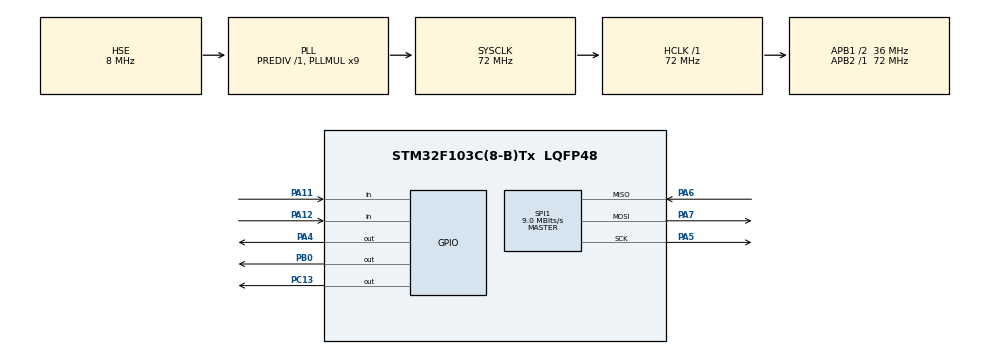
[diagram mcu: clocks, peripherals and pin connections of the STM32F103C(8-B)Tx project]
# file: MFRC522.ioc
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Mcu.Family=STM32F1
Mcu.Name=STM32F103C(8-B)Tx
Mcu.Package=LQFP48
NVIC.PriorityGroup=NVIC_PRIORITYGROUP_4
PA11.Signal=GPIO_Input
PA12.Signal=GPIO_Input
PA13.Mode=Serial_Wire
PA13.Signal=SYS_JTMS-SWDIO
PA14.Mode=Serial_Wire
PA14.Signal=SYS_JTCK-SWCLK
PA4.Signal=GPIO_Output
PA5.Mode=Full_Duplex_Master
PA5.Signal=SPI1_SCK
PA6.Mode=Full_Duplex_Master
PA6.Signal=SPI1_MISO
PA7.Mode=Full_Duplex_Master
PA7.Signal=SPI1_MOSI
PB0.Signal=GPIO_Output
PC13-TAMPER-RTC.PinState=GPIO_PIN_SET
PC13-TAMPER-RTC.Signal=GPIO_Output
PD0-OSC_IN.Mode=HSE-External-Oscillator
PD0-OSC_IN.Signal=RCC_OSC_IN
PD1-OSC_OUT.Mode=HSE-External-Oscillator
PD1-OSC_OUT.Signal=RCC_OSC_OUT
ProjectManager.HeapSize=0x200
ProjectManager.StackSize=0x400
ProjectManager.TargetToolchain=MDK-ARM V5.27
RCC.AHBFreq_Value=72000000
RCC.APB1CLKDivider=RCC_HCLK_DIV2
RCC.APB1Freq_Value=36000000
RCC.APB1TimFreq_Value=72000000
RCC.APB2Freq_Value=72000000
RCC.APB2TimFreq_Value=72000000
RCC.HCLKFreq_Value=72000000
RCC.PLLMUL=RCC_PLL_MUL9
RCC.PLLSourceVirtual=RCC_PLLSOURCE_HSE
RCC.SYSCLKFreq_VALUE=72000000
RCC.SYSCLKSource=RCC_SYSCLKSOURCE_PLLCLK
RCC.USBFreq_Value=72000000
SPI1.BaudRatePrescaler=SPI_BAUDRATEPRESCALER_8
SPI1.CalculateBaudRate=9.0 MBits/s
SPI1.Direction=SPI_DIRECTION_2LINES
SPI1.Mode=SPI_MODE_MASTER
SPI1.VirtualType=VM_MASTER
board=custom

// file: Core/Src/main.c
/* USER CODE BEGIN Header */
/**
  ******************************************************************************
  * @file           : main.c
  * @brief          : Main program body
  ******************************************************************************
  * @attention
  *
  * <h2><center>&copy; Copyright (c) 2020 STMicroelectronics.
  * All rights reserved.</center></h2>
  *
  * This software component is licensed by ST under BSD 3-Clause license,
  * the "License"; You may not use this file except in compliance with the
  * License. You may obtain a copy of the License at:
  *                        opensource.org/licenses/BSD-3-Clause
  *
  ******************************************************************************
  */
/* USER CODE END Header */
#include "main.h"

/* USER CODE BEGIN Includes */
#include "stdio.h"
#include "stm32f1_rc522.h"
#include "stdio.h"
#include "string.h"
/* USER CODE END Includes */

SPI_HandleTypeDef hspi1;

/* USER CODE BEGIN PV */
//uint8_t i;
uint8_t status;
uint8_t str[MAX_LEN]; // Max_LEN = 16

uint8_t serNum[5];
//char password[16]="123456"; //Max lenght of password is 16 charaters
//char keypass[16];
//int cnt=0;
uint8_t key;
//uint8_t check,check2;

uint8_t Key_Card[4]  = {170, 49, 60, 41};
uint8_t Key_Card2[4] = {228, 85, 45, 40};

uint8_t  KEY[] = {0xFF,0xFF,0xFF,0xFF,0xFF,0xFF};
uint8_t  KEY2[]={1,2,3,4,5,6};       //{1,2,3,4,5,6};//"mohem";
//uint8_t  BLOCK_ADDRS[] =  {1}; //{1, 2, 3};

uint8_t test;
uint8_t W[]="zagros-elec";
uint8_t R[16];
/* USER CODE END PV */

void SystemClock_Config(void);
static void MX_GPIO_Init(void);
static void MX_SPI1_Init(void);

int main(void)
{

  /* MCU Configuration--------------------------------------------------------*/

  /* Reset of all peripherals, Initializes the Flash interface and the Systick. */
  HAL_Init();

  /* Configure the system clock */
  SystemClock_Config();

  /* Initialize all configured peripherals */
  MX_GPIO_Init();
  MX_SPI1_Init();
  /* USER CODE BEGIN 2 */
  MFRC522_Init();
  /* USER CODE END 2 */

  /* Infinite loop */
  /* USER CODE BEGIN WHILE */
  while (1)
  {

		status = MFRC522_Request(PICC_REQIDL, str);	//MFRC522_Request(0x26, str)
		status = MFRC522_Anticoll(str);//Take a collision, look up 5 bytes
		memcpy(serNum, str, 5);//function for c language:(para1:that place save data,para2:the the source of data,para3:size)

		if (status == MI_OK)
		{

		//*******************************Read and write on block tag*************************//

    MFRC522_SelectTag(str);
		test =	MFRC522_Auth(PICC_AUTHENT1A,24,KEY,serNum);

			if(HAL_GPIO_ReadPin(GPIOA,GPIO_PIN_11)==0)
				{

      status = MFRC522_Write((uint8_t)24 , W);

			}

			if(HAL_GPIO_ReadPin(GPIOA,GPIO_PIN_12)==0)
				{
		//HAL_Delay(2000);
		 status = MFRC522_Read( 24, R);
			}

//HAL_Delay(1);

			//*******************************Read and write on block tag*************************//

			//*************tag key card when infront of rc522 led is on when is nothig led is off**************//
			/*
				if((str[0]==170) || (str[1]==49) || (str[2]==60) || (str[3]==41) || (str[3]==142) )
			{
			HAL_GPIO_WritePin(GPIOC,GPIO_PIN_13,0);
			HAL_Delay(300);
			}

			if((str[0]==147) || (str[1]==32) || (str[2]==60) || (str[3]==41) || (str[3]==142)){
			HAL_GPIO_WritePin(GPIOC,GPIO_PIN_13,1);

			}
			*/
			//*************tag key card when infront of rc522 led is on when is nothig led is off**************//

			//***************************with two tag:key tag is on led and mifer is off led******************//
			/*
			if((str[0]==170) || (str[1]==49) || (str[2]==60) || (str[3]==41) || (str[3]==142) )
			{
			HAL_GPIO_WritePin(GPIOC,GPIO_PIN_13,0);

			}

			if((str[0]==228) || (str[1]==85) || (str[2]==45) || (str[3]==40) || (str[3]==180))
			{

			HAL_GPIO_WritePin(GPIOC,GPIO_PIN_13,1);

			}
			*/
		 //***************************with two tag:key tag is on led and mifer is off led******************//

			//***************************with two tag:key tag is on led and mifer is off led******************//
			/*
				for(i=0;i<5;i++)
			{
				if(Key_Card[i]!=serNum[i]){
					check = 0;
				}
				else check = 1;

				if(Key_Card2[i]!=serNum[i]){
					check2 = 0;
				}
				else check2 = 1;
			}

			if(check==1){
			HAL_GPIO_WritePin(GPIOC,GPIO_PIN_13,0);

		             	}

			if(check2==1){

				HAL_GPIO_WritePin(GPIOC,GPIO_PIN_13,1);

		             	}
	     */
			//***************************with two tag:key tag is on led and mifer is off led******************//

		}

    /* USER CODE END WHILE */

  }
}

void SystemClock_Config(void)
{
  RCC_OscInitTypeDef RCC_OscInitStruct = {0};
  RCC_ClkInitTypeDef RCC_ClkInitStruct = {0};

  /** Initializes the RCC Oscillators according to the specified parameters
  * in the RCC_OscInitTypeDef structure.
  */
  RCC_OscInitStruct.OscillatorType = RCC_OSCILLATORTYPE_HSE;
  RCC_OscInitStruct.HSEState = RCC_HSE_ON;
  RCC_OscInitStruct.HSEPredivValue = RCC_HSE_PREDIV_DIV1;
  RCC_OscInitStruct.HSIState = RCC_HSI_ON;
  RCC_OscInitStruct.PLL.PLLState = RCC_PLL_ON;
  RCC_OscInitStruct.PLL.PLLSource = RCC_PLLSOURCE_HSE;
  RCC_OscInitStruct.PLL.PLLMUL = RCC_PLL_MUL9;
  if (HAL_RCC_OscConfig(&RCC_OscInitStruct) != HAL_OK)
  {
    Error_Handler();
  }
  /** Initializes the CPU, AHB and APB buses clocks
  */
  RCC_ClkInitStruct.ClockType = RCC_CLOCKTYPE_HCLK|RCC_CLOCKTYPE_SYSCLK
                              |RCC_CLOCKTYPE_PCLK1|RCC_CLOCKTYPE_PCLK2;
  RCC_ClkInitStruct.SYSCLKSource = RCC_SYSCLKSOURCE_PLLCLK;
  RCC_ClkInitStruct.AHBCLKDivider = RCC_SYSCLK_DIV1;
  RCC_ClkInitStruct.APB1CLKDivider = RCC_HCLK_DIV2;
  RCC_ClkInitStruct.APB2CLKDivider = RCC_HCLK_DIV1;

  if (HAL_RCC_ClockConfig(&RCC_ClkInitStruct, FLASH_LATENCY_2) != HAL_OK)
  {
    Error_Handler();
  }
}

static void MX_SPI1_Init(void)
{

  /* SPI1 parameter configuration*/
  hspi1.Instance = SPI1;
  hspi1.Init.Mode = SPI_MODE_MASTER;
  hspi1.Init.Direction = SPI_DIRECTION_2LINES;
  hspi1.Init.DataSize = SPI_DATASIZE_8BIT;
  hspi1.Init.CLKPolarity = SPI_POLARITY_LOW;
  hspi1.Init.CLKPhase = SPI_PHASE_1EDGE;
  hspi1.Init.NSS = SPI_NSS_SOFT;
  hspi1.Init.BaudRatePrescaler = SPI_BAUDRATEPRESCALER_8;
  hspi1.Init.FirstBit = SPI_FIRSTBIT_MSB;
  hspi1.Init.TIMode = SPI_TIMODE_DISABLE;
  hspi1.Init.CRCCalculation = SPI_CRCCALCULATION_DISABLE;
  hspi1.Init.CRCPolynomial = 10;
  if (HAL_SPI_Init(&hspi1) != HAL_OK)
  {
    Error_Handler();
  }

}

static void MX_GPIO_Init(void)
{
  GPIO_InitTypeDef GPIO_InitStruct = {0};

  /* GPIO Ports Clock Enable */
  __HAL_RCC_GPIOC_CLK_ENABLE();
  __HAL_RCC_GPIOD_CLK_ENABLE();
  __HAL_RCC_GPIOA_CLK_ENABLE();
  __HAL_RCC_GPIOB_CLK_ENABLE();

  /*Configure GPIO pin Output Level */
  HAL_GPIO_WritePin(GPIOC, GPIO_PIN_13, GPIO_PIN_SET);

  /*Configure GPIO pin Output Level */
  HAL_GPIO_WritePin(GPIOA, GPIO_PIN_4, GPIO_PIN_RESET);

  /*Configure GPIO pin Output Level */
  HAL_GPIO_WritePin(GPIOB, GPIO_PIN_0, GPIO_PIN_RESET);

  /*Configure GPIO pin : PC13 */
  GPIO_InitStruct.Pin = GPIO_PIN_13;
  GPIO_InitStruct.Mode = GPIO_MODE_OUTPUT_PP;
  GPIO_InitStruct.Pull = GPIO_NOPULL;
  GPIO_InitStruct.Speed = GPIO_SPEED_FREQ_LOW;
  HAL_GPIO_Init(GPIOC, &GPIO_InitStruct);

  /*Configure GPIO pin : PA4 */
  GPIO_InitStruct.Pin = GPIO_PIN_4;
  GPIO_InitStruct.Mode = GPIO_MODE_OUTPUT_PP;
  GPIO_InitStruct.Pull = GPIO_NOPULL;
  GPIO_InitStruct.Speed = GPIO_SPEED_FREQ_LOW;
  HAL_GPIO_Init(GPIOA, &GPIO_InitStruct);

  /*Configure GPIO pin : PB0 */
  GPIO_InitStruct.Pin = GPIO_PIN_0;
  GPIO_InitStruct.Mode = GPIO_MODE_OUTPUT_PP;
  GPIO_InitStruct.Pull = GPIO_NOPULL;
  GPIO_InitStruct.Speed = GPIO_SPEED_FREQ_LOW;
  HAL_GPIO_Init(GPIOB, &GPIO_InitStruct);

  /*Configure GPIO pins : PA11 PA12 */
  GPIO_InitStruct.Pin = GPIO_PIN_11|GPIO_PIN_12;
  GPIO_InitStruct.Mode = GPIO_MODE_INPUT;
  GPIO_InitStruct.Pull = GPIO_NOPULL;
  HAL_GPIO_Init(GPIOA, &GPIO_InitStruct);

}

void Error_Handler(void)
{
}

/************************ (C) COPYRIGHT STMicroelectronics *****END OF FILE****/
